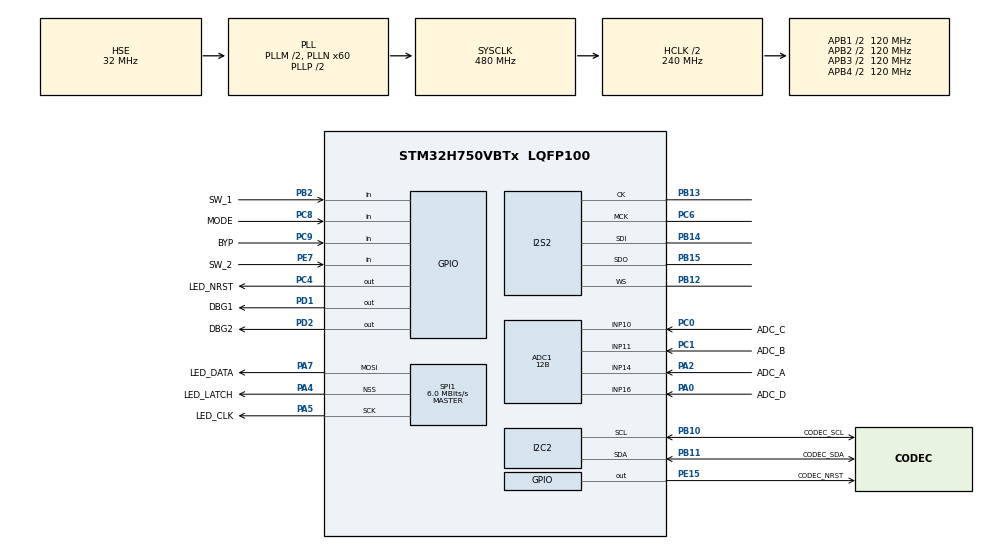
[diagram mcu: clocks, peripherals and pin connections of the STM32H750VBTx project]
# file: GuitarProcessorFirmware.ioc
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ADC1.Channel-0\#ChannelRegularConversion=ADC_CHANNEL_11
ADC1.Channel-1\#ChannelRegularConversion=ADC_CHANNEL_16
ADC1.Channel-2\#ChannelRegularConversion=ADC_CHANNEL_14
ADC1.Channel-3\#ChannelRegularConversion=ADC_CHANNEL_10
ADC1.ConversionDataManagement=ADC_CONVERSIONDATA_DMA_ONESHOT
ADC1.ExternalTrigConv=ADC_EXTERNALTRIG_T4_TRGO
ADC1.NbrOfConversion=4
ADC1.NbrOfConversionFlag=1
ADC1.OffsetNumber-0\#ChannelRegularConversion=ADC_OFFSET_NONE
ADC1.OffsetNumber-1\#ChannelRegularConversion=ADC_OFFSET_NONE
ADC1.OffsetNumber-2\#ChannelRegularConversion=ADC_OFFSET_NONE
ADC1.OffsetNumber-3\#ChannelRegularConversion=ADC_OFFSET_NONE
ADC1.OffsetSignedSaturation-0\#ChannelRegularConversion=DISABLE
ADC1.Rank-0\#ChannelRegularConversion=1
ADC1.Rank-1\#ChannelRegularConversion=2
ADC1.Rank-2\#ChannelRegularConversion=3
ADC1.Rank-3\#ChannelRegularConversion=4
ADC1.Resolution=ADC_RESOLUTION_12B
ADC1.SamplingTime-0\#ChannelRegularConversion=ADC_SAMPLETIME_64CYCLES_5
ADC1.SamplingTime-1\#ChannelRegularConversion=ADC_SAMPLETIME_64CYCLES_5
ADC1.SamplingTime-2\#ChannelRegularConversion=ADC_SAMPLETIME_64CYCLES_5
ADC1.SamplingTime-3\#ChannelRegularConversion=ADC_SAMPLETIME_64CYCLES_5
ADC1.master=1
CORTEX_M7.default_mode_Activation=1
Dma.ADC1.0.Direction=DMA_PERIPH_TO_MEMORY
Dma.ADC1.0.EventEnable=DISABLE
Dma.ADC1.0.FIFOMode=DMA_FIFOMODE_DISABLE
Dma.ADC1.0.Instance=DMA1_Stream0
Dma.ADC1.0.MemDataAlignment=DMA_MDATAALIGN_HALFWORD
Dma.ADC1.0.MemInc=DMA_MINC_ENABLE
Dma.ADC1.0.Mode=DMA_NORMAL
Dma.ADC1.0.PeriphDataAlignment=DMA_PDATAALIGN_HALFWORD
Dma.ADC1.0.PeriphInc=DMA_PINC_DISABLE
Dma.ADC1.0.Polarity=HAL_DMAMUX_REQ_GEN_RISING
Dma.ADC1.0.Priority=DMA_PRIORITY_LOW
Dma.ADC1.0.RequestNumber=1
Dma.ADC1.0.SignalID=NONE
Dma.ADC1.0.SyncEnable=DISABLE
Dma.ADC1.0.SyncPolarity=HAL_DMAMUX_SYNC_NO_EVENT
Dma.ADC1.0.SyncRequestNumber=1
Dma.ADC1.0.SyncSignalID=NONE
Dma.Request0=ADC1
Dma.Request1=SPI1_TX
Dma.Request2=SPI2_RX
Dma.Request3=SPI2_TX
Dma.SPI1_TX.1.Direction=DMA_MEMORY_TO_PERIPH
Dma.SPI1_TX.1.EventEnable=DISABLE
Dma.SPI1_TX.1.FIFOMode=DMA_FIFOMODE_DISABLE
Dma.SPI1_TX.1.Instance=DMA1_Stream1
Dma.SPI1_TX.1.MemDataAlignment=DMA_MDATAALIGN_BYTE
Dma.SPI1_TX.1.MemInc=DMA_MINC_ENABLE
Dma.SPI1_TX.1.Mode=DMA_NORMAL
Dma.SPI1_TX.1.PeriphDataAlignment=DMA_PDATAALIGN_BYTE
Dma.SPI1_TX.1.PeriphInc=DMA_PINC_DISABLE
Dma.SPI1_TX.1.Polarity=HAL_DMAMUX_REQ_GEN_RISING
Dma.SPI1_TX.1.Priority=DMA_PRIORITY_LOW
Dma.SPI1_TX.1.RequestNumber=1
Dma.SPI1_TX.1.SignalID=NONE
Dma.SPI1_TX.1.SyncEnable=DISABLE
Dma.SPI1_TX.1.SyncPolarity=HAL_DMAMUX_SYNC_NO_EVENT
Dma.SPI1_TX.1.SyncRequestNumber=1
Dma.SPI1_TX.1.SyncSignalID=NONE
Dma.SPI2_RX.2.Direction=DMA_PERIPH_TO_MEMORY
Dma.SPI2_RX.2.EventEnable=DISABLE
Dma.SPI2_RX.2.FIFOMode=DMA_FIFOMODE_DISABLE
Dma.SPI2_RX.2.Instance=DMA1_Stream2
Dma.SPI2_RX.2.MemDataAlignment=DMA_MDATAALIGN_WORD
Dma.SPI2_RX.2.MemInc=DMA_MINC_ENABLE
Dma.SPI2_RX.2.Mode=DMA_CIRCULAR
Dma.SPI2_RX.2.PeriphDataAlignment=DMA_PDATAALIGN_WORD
Dma.SPI2_RX.2.PeriphInc=DMA_PINC_DISABLE
Dma.SPI2_RX.2.Polarity=HAL_DMAMUX_REQ_GEN_RISING
Dma.SPI2_RX.2.Priority=DMA_PRIORITY_HIGH
Dma.SPI2_RX.2.RequestNumber=1
Dma.SPI2_RX.2.SignalID=NONE
Dma.SPI2_RX.2.SyncEnable=DISABLE
Dma.SPI2_RX.2.SyncPolarity=HAL_DMAMUX_SYNC_NO_EVENT
Dma.SPI2_RX.2.SyncRequestNumber=1
Dma.SPI2_RX.2.SyncSignalID=NONE
Dma.SPI2_TX.3.Direction=DMA_MEMORY_TO_PERIPH
Dma.SPI2_TX.3.EventEnable=DISABLE
Dma.SPI2_TX.3.FIFOMode=DMA_FIFOMODE_DISABLE
Dma.SPI2_TX.3.Instance=DMA1_Stream3
Dma.SPI2_TX.3.MemDataAlignment=DMA_MDATAALIGN_WORD
Dma.SPI2_TX.3.MemInc=DMA_MINC_ENABLE
Dma.SPI2_TX.3.Mode=DMA_CIRCULAR
Dma.SPI2_TX.3.PeriphDataAlignment=DMA_PDATAALIGN_WORD
Dma.SPI2_TX.3.PeriphInc=DMA_PINC_DISABLE
Dma.SPI2_TX.3.Polarity=HAL_DMAMUX_REQ_GEN_RISING
Dma.SPI2_TX.3.Priority=DMA_PRIORITY_HIGH
Dma.SPI2_TX.3.RequestNumber=1
Dma.SPI2_TX.3.SignalID=NONE
Dma.SPI2_TX.3.SyncEnable=DISABLE
Dma.SPI2_TX.3.SyncPolarity=HAL_DMAMUX_SYNC_NO_EVENT
Dma.SPI2_TX.3.SyncRequestNumber=1
Dma.SPI2_TX.3.SyncSignalID=NONE
I2C2.Timing=0x307075B1
I2S2.AudioFreq=I2S_AUDIOFREQ_48K
I2S2.Data24BitAlignment=I2S_DATA_24BIT_ALIGNMENT_LEFT
I2S2.DataFormat=I2S_DATAFORMAT_32B
I2S2.ErrorAudioFreq=-2.34 %
I2S2.Instance=SPI$Index
I2S2.RealAudioFreq=46.875 KHz
Mcu.Family=STM32H7
Mcu.Name=STM32H750VBTx
Mcu.Package=LQFP100
NVIC.DMA1_Stream0_IRQn=true\:0\:0\:false\:false\:true\:false\:true\:true
NVIC.DMA1_Stream1_IRQn=true\:0\:0\:false\:false\:true\:false\:true\:true
NVIC.DMA1_Stream2_IRQn=true\:0\:0\:false\:false\:true\:false\:true\:true
NVIC.DMA1_Stream3_IRQn=true\:0\:0\:false\:false\:true\:false\:true\:true
NVIC.PriorityGroup=NVIC_PRIORITYGROUP_4
NVIC.SPI1_IRQn=true\:0\:0\:false\:false\:true\:false\:true\:true
NVIC.TIM3_IRQn=true\:0\:0\:false\:false\:true\:true\:true\:true
NVIC.TIM4_IRQn=true\:0\:0\:false\:false\:true\:true\:true\:true
NVIC.TIM6_DAC_IRQn=true\:0\:0\:false\:false\:true\:true\:true\:true
NVIC.TIM7_IRQn=true\:0\:0\:false\:false\:true\:true\:true\:true
PA0.GPIO_Label=ADC_D
PA0.Mode=IN16-Single-Ended
PA0.Signal=ADC1_INP16
PA13\ (JTMS/SWDIO).Mode=Trace_Asynchronous_SW
PA13\ (JTMS/SWDIO).Signal=DEBUG_JTMS-SWDIO
PA14\ (JTCK/SWCLK).Mode=Trace_Asynchronous_SW
PA14\ (JTCK/SWCLK).Signal=DEBUG_JTCK-SWCLK
PA2.GPIO_Label=ADC_A
PA2.Signal=ADCx_INP14
PA4.GPIO_Label=LED_LATCH
PA4.Mode=NSS_Signal_Hard_Output
PA4.Signal=SPI1_NSS
PA5.GPIO_Label=LED_CLK
PA5.Mode=TX_Only_Simplex_Unidirect_Master
PA5.Signal=SPI1_SCK
PA7.GPIO_Label=LED_DATA
PA7.Mode=TX_Only_Simplex_Unidirect_Master
PA7.Signal=SPI1_MOSI
PB10.GPIO_Label=CODEC_SCL
PB10.Mode=I2C
PB10.Signal=I2C2_SCL
PB11.GPIO_Label=CODEC_SDA
PB11.Mode=I2C
PB11.Signal=I2C2_SDA
PB12.Mode=Full_Duplex_Master
PB12.Signal=I2S2_WS
PB13.Mode=Full_Duplex_Master
PB13.Signal=I2S2_CK
PB14.Mode=Full_Duplex_Master
PB14.Signal=I2S2_SDI
PB15.Mode=Full_Duplex_Master
PB15.Signal=I2S2_SDO
PB2.GPIO_Label=SW_1
PB2.Signal=GPIO_Input
PB3\ (JTDO/TRACESWO).Mode=Trace_Asynchronous_SW
PB3\ (JTDO/TRACESWO).Signal=DEBUG_JTDO-SWO
PC0.GPIO_Label=ADC_C
PC0.Signal=ADCx_INP10
PC1.GPIO_Label=ADC_B
PC1.Signal=ADCx_INP11
PC4.GPIO_Label=LED_NRST
PC4.Signal=GPIO_Output
PC6.Mode=Master_Clock_Activated
PC6.Signal=I2S2_MCK
PC8.GPIO_Label=MODE
PC8.Signal=GPIO_Input
PC9.GPIO_Label=BYP
PC9.Signal=GPIO_Input
PD1.GPIO_Label=DBG1
PD1.Signal=GPIO_Output
PD2.GPIO_Label=DBG2
PD2.Signal=GPIO_Output
PE15.GPIO_Label=CODEC_NRST
PE15.PinState=GPIO_PIN_SET
PE15.Signal=GPIO_Output
PE7.GPIO_Label=SW_2
PE7.Signal=GPIO_Input
PH0-OSC_IN\ (PH0).Mode=HSE-External-Oscillator
PH0-OSC_IN\ (PH0).Signal=RCC_OSC_IN
PH1-OSC_OUT\ (PH1).Mode=HSE-External-Oscillator
PH1-OSC_OUT\ (PH1).Signal=RCC_OSC_OUT
ProjectManager.HeapSize=0x200
ProjectManager.StackSize=0x400
ProjectManager.TargetToolchain=CMake
RCC.ADCFreq_Value=80000000
RCC.APB1Freq_Value=120000000
RCC.APB2Freq_Value=120000000
RCC.APB3Freq_Value=120000000
RCC.APB4Freq_Value=120000000
RCC.CortexFreq_Value=480000000
RCC.D1PPRE=RCC_APB3_DIV2
RCC.D2PPRE1=RCC_APB1_DIV2
RCC.D2PPRE2=RCC_APB2_DIV2
RCC.D3PPRE=RCC_APB4_DIV2
RCC.DIVM1=2
RCC.DIVM2=2
RCC.DIVN1=60
RCC.DIVN2=10
RCC.DIVQ1=5
RCC.HCLKFreq_Value=240000000
RCC.HPRE=RCC_HCLK_DIV2
RCC.HSE_VALUE=32000000
RCC.PLL2FRACN=0
RCC.PLL3FRACN=0
RCC.PLLFRACN=0
RCC.PLLSourceVirtual=RCC_PLLSOURCE_HSE
RCC.SYSCLKFreq_VALUE=480000000
RCC.SYSCLKSource=RCC_SYSCLKSOURCE_PLLCLK
RCC.USBFreq_Value=192000000
SH.ADCx_INP10.0=ADC1_INP10,IN10-Single-Ended
SH.ADCx_INP11.0=ADC1_INP11,IN11-Single-Ended
SH.ADCx_INP14.0=ADC1_INP14,IN14-Single-Ended
SPI1.BaudRatePrescaler=SPI_BAUDRATEPRESCALER_32
SPI1.CalculateBaudRate=6.0 MBits/s
SPI1.DataSize=SPI_DATASIZE_8BIT
SPI1.Direction=SPI_DIRECTION_2LINES_TXONLY
SPI1.Mode=SPI_MODE_MASTER
SPI1.VirtualNSS=VM_NSSHARD
SPI1.VirtualType=VM_MASTER
TIM3.Period=49999
TIM3.Prescaler=719
TIM3.TIM_MasterOutputTrigger=TIM_TRGO_UPDATE
TIM4.Period=49999
TIM4.Prescaler=719
TIM4.TIM_MasterOutputTrigger=TIM_TRGO_UPDATE
TIM6.Period=62499
TIM6.Prescaler=1919
TIM7.Period=59999
TIM7.Prescaler=47
TIM7.TIM_MasterOutputTrigger=TIM_TRGO_UPDATE
VP_MEMORYMAP_VS_MEMORYMAP.Mode=CurAppReg
VP_TIM3_VS_ClockSourceINT.Mode=Internal
VP_TIM4_VS_ClockSourceINT.Mode=Internal
VP_TIM6_VS_ClockSourceINT.Mode=Enable_Timer
VP_TIM7_VS_ClockSourceINT.Mode=Enable_Timer
board=custom

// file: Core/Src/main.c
/* USER CODE BEGIN Header */
/**
  ******************************************************************************
  * @file           : main.c
  * @brief          : Main program body
  ******************************************************************************
  * @attention
  *
  * Copyright (c) 2026 STMicroelectronics.
  * All rights reserved.
  *
  * This software is licensed under terms that can be found in the LICENSE file
  * in the root directory of this software component.
  * If no LICENSE file comes with this software, it is provided AS-IS.
  *
  ******************************************************************************
  */
/* USER CODE END Header */
#include "main.h"

/* USER CODE BEGIN Includes */
#include "Button.h"
#include "stm32h7xx_hal.h"
#include "stm32h7xx_hal_adc.h"
#include "stm32h7xx_hal_adc_ex.h"
#include "stm32h7xx_hal_def.h"
#include "stm32h7xx_hal_gpio.h"
#include "stm32h7xx_hal_tim.h"
#include "tlv320aic3204.h"
#include "PedalState.h"
#include "FxProcessor.h"
/* USER CODE END Includes */

/* USER CODE BEGIN PM */
#define INPUT_DC_OFFSET 100000
/* USER CODE END PM */

ADC_HandleTypeDef hadc1;
DMA_HandleTypeDef hdma_adc1;

I2C_HandleTypeDef hi2c2;

I2S_HandleTypeDef hi2s2;
DMA_HandleTypeDef hdma_spi2_rx;
DMA_HandleTypeDef hdma_spi2_tx;

SPI_HandleTypeDef hspi1;
DMA_HandleTypeDef hdma_spi1_tx;

TIM_HandleTypeDef htim3;
TIM_HandleTypeDef htim4;
TIM_HandleTypeDef htim6;
TIM_HandleTypeDef htim7;

/* USER CODE BEGIN PV */
// buffers for the input & output audio streams
isample_t adcBuf[AUDIO_BUF_SIZE * 4]  __attribute__((section(".dma_buf")));
float inputBufLeft[AUDIO_BUF_SIZE];
float inputBufRight[AUDIO_BUF_SIZE];
float outputBufLeft[AUDIO_BUF_SIZE];
float outputBufRight[AUDIO_BUF_SIZE];
isample_t dacBuf[AUDIO_BUF_SIZE * 4] __attribute__((section(".dma_buf")));
static isample_t* adcPtr = adcBuf;
static isample_t* dacPtr = dacBuf;
// flags
volatile bool chunkReady = false;
volatile bool ledUpdateNeeded = false;
volatile bool flagCheckNeeded = false;
volatile bool processRunning = false;
isample_t leftDcBias = 0;

// knob values and ADC buffer
volatile uint16_t knobValueBuf[4] __attribute__((section(".dma_buf")));
volatile bool knobValuesReady = false;

// button objects
button_t leftBtn;
button_t rightBtn;

// state
uint8_t ledData __attribute__((section(".dma_buf")));
pedal_state_t ps;
fx_processor_t fx;

/* USER CODE END PV */

void SystemClock_Config(void);
static void MPU_Config(void);
static void MX_GPIO_Init(void);
static void MX_DMA_Init(void);
static void MX_ADC1_Init(void);
static void MX_I2C2_Init(void);
static void MX_I2S2_Init(void);
static void MX_SPI1_Init(void);
static void MX_TIM3_Init(void);
static void MX_TIM4_Init(void);
static void MX_TIM7_Init(void);
static void MX_TIM6_Init(void);
/* USER CODE BEGIN PFP */
void startKnobADC();
void loadInputBuf(isample_t* ptr);
void loadOutputBuf(isample_t* dac);
/* USER CODE END PFP */

/* USER CODE BEGIN 0 */
bool ledUpdateDue() {
  return ledUpdateNeeded;
}

void updateLedData(uint8_t data){
  ledData = data;
  HAL_StatusTypeDef ledStatus = HAL_SPI_Transmit_DMA(&LED_SPI, &ledData, 1);
  if(ledStatus != HAL_OK){
    Error_Handler();
  }
  ledUpdateNeeded = false;
}

bool algSwitchDebounce(){
	static uint16_t switchStates = 0xFFFF;
	switchStates = (switchStates << 1)
			| HAL_GPIO_ReadPin(MODE_GPIO_Port, MODE_Pin);
	return switchStates == 0xFFF0;
}

void setDBG1Level(bool isHigh){
  GPIO_PinState state = (GPIO_PinState)isHigh;
  HAL_GPIO_WritePin(DBG1_GPIO_Port, DBG1_Pin, state);
}

void setDBG2Level(bool isHigh){
  GPIO_PinState state = (GPIO_PinState)isHigh;
  HAL_GPIO_WritePin(DBG2_GPIO_Port, DBG2_Pin, state);
}

uint16_t i2c_scan(I2C_HandleTypeDef *hi2c) {
    for (uint8_t addr = 1; addr < 128; addr++) {
        // HAL expects the address left-shifted by 1
        if (HAL_I2C_IsDeviceReady(hi2c, addr << 1, 1, 10) == HAL_OK) {
            // device found at 7-bit address `addr`
          return (uint16_t)(addr << 1);
        }
    }
    Error_Handler();
    return 0;
}

/* USER CODE END 0 */

int main(void)
{

  /* MPU Configuration--------------------------------------------------------*/
  MPU_Config();

  /* MCU Configuration--------------------------------------------------------*/

  /* Reset of all peripherals, Initializes the Flash interface and the Systick. */
  HAL_Init();

  /* Configure the system clock */
  SystemClock_Config();

  /* Initialize all configured peripherals */
  MX_GPIO_Init();
  MX_DMA_Init();
  MX_ADC1_Init();
  MX_I2C2_Init();
  MX_I2S2_Init();
  MX_SPI1_Init();
  MX_TIM3_Init();
  MX_TIM4_Init();
  MX_TIM7_Init();
  MX_TIM6_Init();
  /* USER CODE BEGIN 2 */
  // find any valid I2C devices
  //uint16_t address = i2c_scan(&hi2c2);
  // initialize the audio codec
  HAL_StatusTypeDef tlvStatus = TLV_quickInit_stereoGuitarPedal();
  if(tlvStatus != HAL_OK){
    Error_Handler();
  }

  HAL_Delay(150);

  HAL_StatusTypeDef dmaStatus = HAL_I2SEx_TransmitReceive_DMA(&hi2s2, (uint16_t*)dacBuf, (uint16_t*)adcBuf, AUDIO_BUF_SIZE * sizeof(isample_t));
  if(dmaStatus != HAL_OK){
    Error_Handler();
  }

  //TLV_checkFlags();

  // calibrate the ADC
  if(HAL_ADCEx_Calibration_Start(&hadc1, ADC_CALIB_OFFSET, ADC_SINGLE_ENDED) != HAL_OK){
    Error_Handler();
  }

  // start the timer for the knobs
  if(HAL_TIM_Base_Start(&htim4) != HAL_OK){
    Error_Handler();
  }

  startKnobADC();

  PedalState_init(&ps);
  HAL_GPIO_WritePin(LED_NRST_GPIO_Port, LED_NRST_Pin, GPIO_PIN_SET);
  // start the timer for the LED updating
  if(HAL_TIM_Base_Start_IT(&htim3) != HAL_OK){
    Error_Handler();
  }
  HAL_Delay(350);
  // initialize the button objects
  button_init(&leftBtn, SW_1_GPIO_Port, SW_1_Pin, true);
  button_init(&rightBtn, SW_2_GPIO_Port, SW_2_Pin, true);
   // start the timer for checking the buttons
  if(HAL_TIM_Base_Start_IT(&htim7) != HAL_OK){
    Error_Handler();
  }
  init_dc_measurement_buf();
  // // start the flag checking timer
  // if(HAL_TIM_Base_Start_IT(&htim6) != HAL_OK){
  //   Error_Handler();
  // }
  // // enable DC measurement on the ADCs
  // if(TLV_enableDcMeasurement() != HAL_OK){
  //   Error_Handler();
  // }
  // initialize the fx processor
  fx = create_fx_processor();
  /* USER CODE END 2 */

  /* Infinite loop */
  /* USER CODE BEGIN WHILE */
  while (1)
  {
    if(chunkReady){
      //do processing here
      setDBG2Level(true);
      loadInputBuf(adcPtr);
      processRunning = true;
      setDBG1Level(true);
      process_fx_stereo(fx, inputBufLeft, inputBufRight, outputBufLeft, outputBufRight, AUDIO_BUF_SIZE);
      setDBG1Level(false);
      processRunning = false;
      loadOutputBuf(dacPtr);
      setDBG2Level(false);
      chunkReady = false;
    }
    if(knobValuesReady){
      ps.knobA = (float)knobValueBuf[0] / 4096.0f;
      ps.knobB = (float)knobValueBuf[1] / 4096.0f;
      ps.knobC = (float)knobValueBuf[2] / 4096.0f;
      ps.knobD = (float)knobValueBuf[3] / 4096.0f;
      update_params(fx, &ps);
      knobValuesReady = false;
      startKnobADC();
    }
    if(ledUpdateDue()){
      // check the switches while we're here
      ps.fxEngaged = HAL_GPIO_ReadPin(BYP_GPIO_Port, BYP_Pin);
      ps.expButton = HAL_GPIO_ReadPin(MODE_GPIO_Port, MODE_Pin);
      updateLedData(PedalState_getLedData(&ps));
    }
    // if(flagCheckNeeded){
    //   if(TLV_leftDcMeasurementReady()){
    //     leftDcBias = TLV_getDcMeasurementLeft();
    //   }
    //   flagCheckNeeded = false;
    // }
    /* USER CODE END WHILE */

  }
}

void SystemClock_Config(void)
{
  RCC_OscInitTypeDef RCC_OscInitStruct = {0};
  RCC_ClkInitTypeDef RCC_ClkInitStruct = {0};

  /** Supply configuration update enable
  */
  HAL_PWREx_ConfigSupply(PWR_LDO_SUPPLY);

  /** Configure the main internal regulator output voltage
  */
  __HAL_PWR_VOLTAGESCALING_CONFIG(PWR_REGULATOR_VOLTAGE_SCALE0);

  while(!__HAL_PWR_GET_FLAG(PWR_FLAG_VOSRDY)) {}

  /** Initializes the RCC Oscillators according to the specified parameters
  * in the RCC_OscInitTypeDef structure.
  */
  RCC_OscInitStruct.OscillatorType = RCC_OSCILLATORTYPE_HSE;
  RCC_OscInitStruct.HSEState = RCC_HSE_ON;
  RCC_OscInitStruct.PLL.PLLState = RCC_PLL_ON;
  RCC_OscInitStruct.PLL.PLLSource = RCC_PLLSOURCE_HSE;
  RCC_OscInitStruct.PLL.PLLM = 2;
  RCC_OscInitStruct.PLL.PLLN = 60;
  RCC_OscInitStruct.PLL.PLLP = 2;
  RCC_OscInitStruct.PLL.PLLQ = 5;
  RCC_OscInitStruct.PLL.PLLR = 2;
  RCC_OscInitStruct.PLL.PLLRGE = RCC_PLL1VCIRANGE_3;
  RCC_OscInitStruct.PLL.PLLVCOSEL = RCC_PLL1VCOWIDE;
  RCC_OscInitStruct.PLL.PLLFRACN = 0;
  if (HAL_RCC_OscConfig(&RCC_OscInitStruct) != HAL_OK)
  {
    Error_Handler();
  }

  /** Initializes the CPU, AHB and APB buses clocks
  */
  RCC_ClkInitStruct.ClockType = RCC_CLOCKTYPE_HCLK|RCC_CLOCKTYPE_SYSCLK
                              |RCC_CLOCKTYPE_PCLK1|RCC_CLOCKTYPE_PCLK2
                              |RCC_CLOCKTYPE_D3PCLK1|RCC_CLOCKTYPE_D1PCLK1;
  RCC_ClkInitStruct.SYSCLKSource = RCC_SYSCLKSOURCE_PLLCLK;
  RCC_ClkInitStruct.SYSCLKDivider = RCC_SYSCLK_DIV1;
  RCC_ClkInitStruct.AHBCLKDivider = RCC_HCLK_DIV2;
  RCC_ClkInitStruct.APB3CLKDivider = RCC_APB3_DIV2;
  RCC_ClkInitStruct.APB1CLKDivider = RCC_APB1_DIV2;
  RCC_ClkInitStruct.APB2CLKDivider = RCC_APB2_DIV2;
  RCC_ClkInitStruct.APB4CLKDivider = RCC_APB4_DIV2;

  if (HAL_RCC_ClockConfig(&RCC_ClkInitStruct, FLASH_LATENCY_4) != HAL_OK)
  {
    Error_Handler();
  }
}

static void MX_ADC1_Init(void)
{

  ADC_MultiModeTypeDef multimode = {0};
  ADC_ChannelConfTypeDef sConfig = {0};

  /** Common config
  */
  hadc1.Instance = ADC1;
  hadc1.Init.ClockPrescaler = ADC_CLOCK_ASYNC_DIV1;
  hadc1.Init.Resolution = ADC_RESOLUTION_12B;
  hadc1.Init.ScanConvMode = ADC_SCAN_ENABLE;
  hadc1.Init.EOCSelection = ADC_EOC_SINGLE_CONV;
  hadc1.Init.LowPowerAutoWait = DISABLE;
  hadc1.Init.ContinuousConvMode = DISABLE;
  hadc1.Init.NbrOfConversion = 4;
  hadc1.Init.DiscontinuousConvMode = DISABLE;
  hadc1.Init.ExternalTrigConv = ADC_EXTERNALTRIG_T4_TRGO;
  hadc1.Init.ExternalTrigConvEdge = ADC_EXTERNALTRIGCONVEDGE_RISING;
  hadc1.Init.ConversionDataManagement = ADC_CONVERSIONDATA_DMA_ONESHOT;
  hadc1.Init.Overrun = ADC_OVR_DATA_PRESERVED;
  hadc1.Init.LeftBitShift = ADC_LEFTBITSHIFT_NONE;
  hadc1.Init.OversamplingMode = DISABLE;
  hadc1.Init.Oversampling.Ratio = 1;
  if (HAL_ADC_Init(&hadc1) != HAL_OK)
  {
    Error_Handler();
  }

  /** Configure the ADC multi-mode
  */
  multimode.Mode = ADC_MODE_INDEPENDENT;
  if (HAL_ADCEx_MultiModeConfigChannel(&hadc1, &multimode) != HAL_OK)
  {
    Error_Handler();
  }

  /** Configure Regular Channel
  */
  sConfig.Channel = ADC_CHANNEL_11;
  sConfig.Rank = ADC_REGULAR_RANK_1;
  sConfig.SamplingTime = ADC_SAMPLETIME_64CYCLES_5;
  sConfig.SingleDiff = ADC_SINGLE_ENDED;
  sConfig.OffsetNumber = ADC_OFFSET_NONE;
  sConfig.Offset = 0;
  sConfig.OffsetSignedSaturation = DISABLE;
  if (HAL_ADC_ConfigChannel(&hadc1, &sConfig) != HAL_OK)
  {
    Error_Handler();
  }

  /** Configure Regular Channel
  */
  sConfig.Channel = ADC_CHANNEL_16;
  sConfig.Rank = ADC_REGULAR_RANK_2;
  if (HAL_ADC_ConfigChannel(&hadc1, &sConfig) != HAL_OK)
  {
    Error_Handler();
  }

  /** Configure Regular Channel
  */
  sConfig.Channel = ADC_CHANNEL_14;
  sConfig.Rank = ADC_REGULAR_RANK_3;
  if (HAL_ADC_ConfigChannel(&hadc1, &sConfig) != HAL_OK)
  {
    Error_Handler();
  }

  /** Configure Regular Channel
  */
  sConfig.Channel = ADC_CHANNEL_10;
  sConfig.Rank = ADC_REGULAR_RANK_4;
  if (HAL_ADC_ConfigChannel(&hadc1, &sConfig) != HAL_OK)
  {
    Error_Handler();
  }

}

static void MX_I2C2_Init(void)
{

  hi2c2.Instance = I2C2;
  hi2c2.Init.Timing = 0x307075B1;
  hi2c2.Init.OwnAddress1 = 0;
  hi2c2.Init.AddressingMode = I2C_ADDRESSINGMODE_7BIT;
  hi2c2.Init.DualAddressMode = I2C_DUALADDRESS_DISABLE;
  hi2c2.Init.OwnAddress2 = 0;
  hi2c2.Init.OwnAddress2Masks = I2C_OA2_NOMASK;
  hi2c2.Init.GeneralCallMode = I2C_GENERALCALL_DISABLE;
  hi2c2.Init.NoStretchMode = I2C_NOSTRETCH_DISABLE;
  if (HAL_I2C_Init(&hi2c2) != HAL_OK)
  {
    Error_Handler();
  }

  /** Configure Analogue filter
  */
  if (HAL_I2CEx_ConfigAnalogFilter(&hi2c2, I2C_ANALOGFILTER_ENABLE) != HAL_OK)
  {
    Error_Handler();
  }

  /** Configure Digital filter
  */
  if (HAL_I2CEx_ConfigDigitalFilter(&hi2c2, 0) != HAL_OK)
  {
    Error_Handler();
  }

}

static void MX_I2S2_Init(void)
{

  hi2s2.Instance = SPI2;
  hi2s2.Init.Mode = I2S_MODE_MASTER_FULLDUPLEX;
  hi2s2.Init.Standard = I2S_STANDARD_PHILIPS;
  hi2s2.Init.DataFormat = I2S_DATAFORMAT_32B;
  hi2s2.Init.MCLKOutput = I2S_MCLKOUTPUT_ENABLE;
  hi2s2.Init.AudioFreq = I2S_AUDIOFREQ_48K;
  hi2s2.Init.CPOL = I2S_CPOL_LOW;
  hi2s2.Init.FirstBit = I2S_FIRSTBIT_MSB;
  hi2s2.Init.WSInversion = I2S_WS_INVERSION_DISABLE;
  hi2s2.Init.Data24BitAlignment = I2S_DATA_24BIT_ALIGNMENT_LEFT;
  hi2s2.Init.MasterKeepIOState = I2S_MASTER_KEEP_IO_STATE_DISABLE;
  if (HAL_I2S_Init(&hi2s2) != HAL_OK)
  {
    Error_Handler();
  }

}

static void MX_SPI1_Init(void)
{

  /* SPI1 parameter configuration*/
  hspi1.Instance = SPI1;
  hspi1.Init.Mode = SPI_MODE_MASTER;
  hspi1.Init.Direction = SPI_DIRECTION_2LINES_TXONLY;
  hspi1.Init.DataSize = SPI_DATASIZE_8BIT;
  hspi1.Init.CLKPolarity = SPI_POLARITY_LOW;
  hspi1.Init.CLKPhase = SPI_PHASE_1EDGE;
  hspi1.Init.NSS = SPI_NSS_HARD_OUTPUT;
  hspi1.Init.BaudRatePrescaler = SPI_BAUDRATEPRESCALER_32;
  hspi1.Init.FirstBit = SPI_FIRSTBIT_MSB;
  hspi1.Init.TIMode = SPI_TIMODE_DISABLE;
  hspi1.Init.CRCCalculation = SPI_CRCCALCULATION_DISABLE;
  hspi1.Init.CRCPolynomial = 0x0;
  hspi1.Init.NSSPMode = SPI_NSS_PULSE_ENABLE;
  hspi1.Init.NSSPolarity = SPI_NSS_POLARITY_LOW;
  hspi1.Init.FifoThreshold = SPI_FIFO_THRESHOLD_01DATA;
  hspi1.Init.TxCRCInitializationPattern = SPI_CRC_INITIALIZATION_ALL_ZERO_PATTERN;
  hspi1.Init.RxCRCInitializationPattern = SPI_CRC_INITIALIZATION_ALL_ZERO_PATTERN;
  hspi1.Init.MasterSSIdleness = SPI_MASTER_SS_IDLENESS_00CYCLE;
  hspi1.Init.MasterInterDataIdleness = SPI_MASTER_INTERDATA_IDLENESS_00CYCLE;
  hspi1.Init.MasterReceiverAutoSusp = SPI_MASTER_RX_AUTOSUSP_DISABLE;
  hspi1.Init.MasterKeepIOState = SPI_MASTER_KEEP_IO_STATE_DISABLE;
  hspi1.Init.IOSwap = SPI_IO_SWAP_DISABLE;
  if (HAL_SPI_Init(&hspi1) != HAL_OK)
  {
    Error_Handler();
  }

}

static void MX_TIM3_Init(void)
{

  TIM_ClockConfigTypeDef sClockSourceConfig = {0};
  TIM_MasterConfigTypeDef sMasterConfig = {0};

  htim3.Instance = TIM3;
  htim3.Init.Prescaler = 719;
  htim3.Init.CounterMode = TIM_COUNTERMODE_UP;
  htim3.Init.Period = 49999;
  htim3.Init.ClockDivision = TIM_CLOCKDIVISION_DIV1;
  htim3.Init.AutoReloadPreload = TIM_AUTORELOAD_PRELOAD_DISABLE;
  if (HAL_TIM_Base_Init(&htim3) != HAL_OK)
  {
    Error_Handler();
  }
  sClockSourceConfig.ClockSource = TIM_CLOCKSOURCE_INTERNAL;
  if (HAL_TIM_ConfigClockSource(&htim3, &sClockSourceConfig) != HAL_OK)
  {
    Error_Handler();
  }
  sMasterConfig.MasterOutputTrigger = TIM_TRGO_UPDATE;
  sMasterConfig.MasterSlaveMode = TIM_MASTERSLAVEMODE_DISABLE;
  if (HAL_TIMEx_MasterConfigSynchronization(&htim3, &sMasterConfig) != HAL_OK)
  {
    Error_Handler();
  }

}

static void MX_TIM4_Init(void)
{

  TIM_ClockConfigTypeDef sClockSourceConfig = {0};
  TIM_MasterConfigTypeDef sMasterConfig = {0};

  htim4.Instance = TIM4;
  htim4.Init.Prescaler = 719;
  htim4.Init.CounterMode = TIM_COUNTERMODE_UP;
  htim4.Init.Period = 49999;
  htim4.Init.ClockDivision = TIM_CLOCKDIVISION_DIV1;
  htim4.Init.AutoReloadPreload = TIM_AUTORELOAD_PRELOAD_DISABLE;
  if (HAL_TIM_Base_Init(&htim4) != HAL_OK)
  {
    Error_Handler();
  }
  sClockSourceConfig.ClockSource = TIM_CLOCKSOURCE_INTERNAL;
  if (HAL_TIM_ConfigClockSource(&htim4, &sClockSourceConfig) != HAL_OK)
  {
    Error_Handler();
  }
  sMasterConfig.MasterOutputTrigger = TIM_TRGO_UPDATE;
  sMasterConfig.MasterSlaveMode = TIM_MASTERSLAVEMODE_DISABLE;
  if (HAL_TIMEx_MasterConfigSynchronization(&htim4, &sMasterConfig) != HAL_OK)
  {
    Error_Handler();
  }

}

static void MX_TIM6_Init(void)
{

  TIM_MasterConfigTypeDef sMasterConfig = {0};

  htim6.Instance = TIM6;
  htim6.Init.Prescaler = 1919;
  htim6.Init.CounterMode = TIM_COUNTERMODE_UP;
  htim6.Init.Period = 62499;
  htim6.Init.AutoReloadPreload = TIM_AUTORELOAD_PRELOAD_DISABLE;
  if (HAL_TIM_Base_Init(&htim6) != HAL_OK)
  {
    Error_Handler();
  }
  sMasterConfig.MasterOutputTrigger = TIM_TRGO_RESET;
  sMasterConfig.MasterSlaveMode = TIM_MASTERSLAVEMODE_DISABLE;
  if (HAL_TIMEx_MasterConfigSynchronization(&htim6, &sMasterConfig) != HAL_OK)
  {
    Error_Handler();
  }

}

static void MX_TIM7_Init(void)
{

  TIM_MasterConfigTypeDef sMasterConfig = {0};

  htim7.Instance = TIM7;
  htim7.Init.Prescaler = 47;
  htim7.Init.CounterMode = TIM_COUNTERMODE_UP;
  htim7.Init.Period = 59999;
  htim7.Init.AutoReloadPreload = TIM_AUTORELOAD_PRELOAD_DISABLE;
  if (HAL_TIM_Base_Init(&htim7) != HAL_OK)
  {
    Error_Handler();
  }
  sMasterConfig.MasterOutputTrigger = TIM_TRGO_UPDATE;
  sMasterConfig.MasterSlaveMode = TIM_MASTERSLAVEMODE_DISABLE;
  if (HAL_TIMEx_MasterConfigSynchronization(&htim7, &sMasterConfig) != HAL_OK)
  {
    Error_Handler();
  }

}

static void MX_DMA_Init(void)
{

  /* DMA controller clock enable */
  __HAL_RCC_DMA1_CLK_ENABLE();

  /* DMA interrupt init */
  /* DMA1_Stream0_IRQn interrupt configuration */
  HAL_NVIC_SetPriority(DMA1_Stream0_IRQn, 0, 0);
  HAL_NVIC_EnableIRQ(DMA1_Stream0_IRQn);
  /* DMA1_Stream1_IRQn interrupt configuration */
  HAL_NVIC_SetPriority(DMA1_Stream1_IRQn, 0, 0);
  HAL_NVIC_EnableIRQ(DMA1_Stream1_IRQn);
  /* DMA1_Stream2_IRQn interrupt configuration */
  HAL_NVIC_SetPriority(DMA1_Stream2_IRQn, 0, 0);
  HAL_NVIC_EnableIRQ(DMA1_Stream2_IRQn);
  /* DMA1_Stream3_IRQn interrupt configuration */
  HAL_NVIC_SetPriority(DMA1_Stream3_IRQn, 0, 0);
  HAL_NVIC_EnableIRQ(DMA1_Stream3_IRQn);

}

static void MX_GPIO_Init(void)
{
  GPIO_InitTypeDef GPIO_InitStruct = {0};

  /* GPIO Ports Clock Enable */
  __HAL_RCC_GPIOH_CLK_ENABLE();
  __HAL_RCC_GPIOC_CLK_ENABLE();
  __HAL_RCC_GPIOA_CLK_ENABLE();
  __HAL_RCC_GPIOB_CLK_ENABLE();
  __HAL_RCC_GPIOE_CLK_ENABLE();
  __HAL_RCC_GPIOD_CLK_ENABLE();

  /*Configure GPIO pin Output Level */
  HAL_GPIO_WritePin(LED_NRST_GPIO_Port, LED_NRST_Pin, GPIO_PIN_RESET);

  /*Configure GPIO pin Output Level */
  HAL_GPIO_WritePin(CODEC_NRST_GPIO_Port, CODEC_NRST_Pin, GPIO_PIN_SET);

  /*Configure GPIO pin Output Level */
  HAL_GPIO_WritePin(GPIOD, DBG1_Pin|DBG2_Pin, GPIO_PIN_RESET);

  /*Configure GPIO pin : LED_NRST_Pin */
  GPIO_InitStruct.Pin = LED_NRST_Pin;
  GPIO_InitStruct.Mode = GPIO_MODE_OUTPUT_PP;
  GPIO_InitStruct.Pull = GPIO_NOPULL;
  GPIO_InitStruct.Speed = GPIO_SPEED_FREQ_LOW;
  HAL_GPIO_Init(LED_NRST_GPIO_Port, &GPIO_InitStruct);

  /*Configure GPIO pin : SW_1_Pin */
  GPIO_InitStruct.Pin = SW_1_Pin;
  GPIO_InitStruct.Mode = GPIO_MODE_INPUT;
  GPIO_InitStruct.Pull = GPIO_NOPULL;
  HAL_GPIO_Init(SW_1_GPIO_Port, &GPIO_InitStruct);

  /*Configure GPIO pin : SW_2_Pin */
  GPIO_InitStruct.Pin = SW_2_Pin;
  GPIO_InitStruct.Mode = GPIO_MODE_INPUT;
  GPIO_InitStruct.Pull = GPIO_NOPULL;
  HAL_GPIO_Init(SW_2_GPIO_Port, &GPIO_InitStruct);

  /*Configure GPIO pin : CODEC_NRST_Pin */
  GPIO_InitStruct.Pin = CODEC_NRST_Pin;
  GPIO_InitStruct.Mode = GPIO_MODE_OUTPUT_PP;
  GPIO_InitStruct.Pull = GPIO_NOPULL;
  GPIO_InitStruct.Speed = GPIO_SPEED_FREQ_LOW;
  HAL_GPIO_Init(CODEC_NRST_GPIO_Port, &GPIO_InitStruct);

  /*Configure GPIO pins : MODE_Pin BYP_Pin */
  GPIO_InitStruct.Pin = MODE_Pin|BYP_Pin;
  GPIO_InitStruct.Mode = GPIO_MODE_INPUT;
  GPIO_InitStruct.Pull = GPIO_NOPULL;
  HAL_GPIO_Init(GPIOC, &GPIO_InitStruct);

  /*Configure GPIO pins : DBG1_Pin DBG2_Pin */
  GPIO_InitStruct.Pin = DBG1_Pin|DBG2_Pin;
  GPIO_InitStruct.Mode = GPIO_MODE_OUTPUT_PP;
  GPIO_InitStruct.Pull = GPIO_NOPULL;
  GPIO_InitStruct.Speed = GPIO_SPEED_FREQ_LOW;
  HAL_GPIO_Init(GPIOD, &GPIO_InitStruct);

}

/* USER CODE BEGIN 4 */

// I2S callbacks===================================
void HAL_I2SEx_TxRxCpltCallback(I2S_HandleTypeDef *i2s) {
  if(processRunning){
    Error_Handler();
  }
	adcPtr = &adcBuf[AUDIO_BUF_SIZE * 2];
	dacPtr = &dacBuf[AUDIO_BUF_SIZE * 2];
  chunkReady = true;
}

void HAL_I2SEx_TxRxHalfCpltCallback(I2S_HandleTypeDef *i2s) {
  if(processRunning){
    Error_Handler();
  }
	adcPtr = &adcBuf[0];
	dacPtr = &dacBuf[0];
  chunkReady = true;
}

// void HAL_I2S_ErrorCallback(I2S_HandleTypeDef *hi2s){
//   uint32_t errCode = HAL_I2S_GetError(hi2s);
// }

static inline float sampleToFloat(isample_t value){
    return (float)value / 2147483648.0f;  // 2^31
}

static inline isample_t floatToSample(float value){
  return (isample_t)(value * 2147483648.0f);
}

void loadInputBuf(isample_t* ptr){
  for(uint32_t i = 0; i < AUDIO_BUF_SIZE; ++i){
    inputBufLeft[i] = sampleToFloat(ptr[(i * 2) + 1]);
    inputBufRight[i] = sampleToFloat(ptr[(i * 2)]);
  }
}

void loadOutputBuf(isample_t* dac){
  for(uint32_t i = 0; i < AUDIO_BUF_SIZE; ++i){
    dac[(i * 2) + 1] = floatToSample(outputBufLeft[i]);
    dac[(i * 2)] = floatToSample(outputBufRight[i]);
  }
}

void HAL_ADC_ConvCpltCallback(ADC_HandleTypeDef *hadc){
  knobValuesReady = true;
}

void HAL_ADC_ErrorCallback(ADC_HandleTypeDef *hadc){
  if(HAL_ADC_GetError(hadc) == HAL_ADC_ERROR_DMA){
    Error_Handler();
  }
}

void startKnobADC(){
  //start the ADC dma stream
  HAL_StatusTypeDef adcStatus = HAL_ADC_Start_DMA(&hadc1, (uint32_t*)knobValueBuf, 4);
  if(adcStatus != HAL_OK){
    Error_Handler();
  }
}

void HAL_TIM_PeriodElapsedCallback(TIM_HandleTypeDef *htim){
  if(htim == &htim7){
    if(button_debounce(&rightBtn)){
      ps.algIdx = (ps.algIdx + 1) % 6;
    }
    if(button_debounce(&leftBtn)){
      if(ps.algIdx == 0){
        ps.algIdx = 5;
      } else {
        ps.algIdx--;
      }
    }
  } else if (htim == &htim3){
    ledUpdateNeeded = true;
  }
}

//=====================================================================================
/* USER CODE END 4 */

 /* MPU Configuration */

void MPU_Config(void)
{
  MPU_Region_InitTypeDef MPU_InitStruct = {0};

  /* Disables the MPU */
  HAL_MPU_Disable();

  /** Initializes and configures the Region and the memory to be protected
  */
  MPU_InitStruct.Enable = MPU_REGION_ENABLE;
  MPU_InitStruct.Number = MPU_REGION_NUMBER0;
  MPU_InitStruct.BaseAddress = 0x0;
  MPU_InitStruct.Size = MPU_REGION_SIZE_4GB;
  MPU_InitStruct.SubRegionDisable = 0x87;
  MPU_InitStruct.TypeExtField = MPU_TEX_LEVEL0;
  MPU_InitStruct.AccessPermission = MPU_REGION_NO_ACCESS;
  MPU_InitStruct.DisableExec = MPU_INSTRUCTION_ACCESS_DISABLE;
  MPU_InitStruct.IsShareable = MPU_ACCESS_SHAREABLE;
  MPU_InitStruct.IsCacheable = MPU_ACCESS_NOT_CACHEABLE;
  MPU_InitStruct.IsBufferable = MPU_ACCESS_NOT_BUFFERABLE;

  HAL_MPU_ConfigRegion(&MPU_InitStruct);
  /* Enables the MPU */
  HAL_MPU_Enable(MPU_PRIVILEGED_DEFAULT);

}

void Error_Handler(void)
{
  __disable_irq();
  while (1)
  {
  }
}
